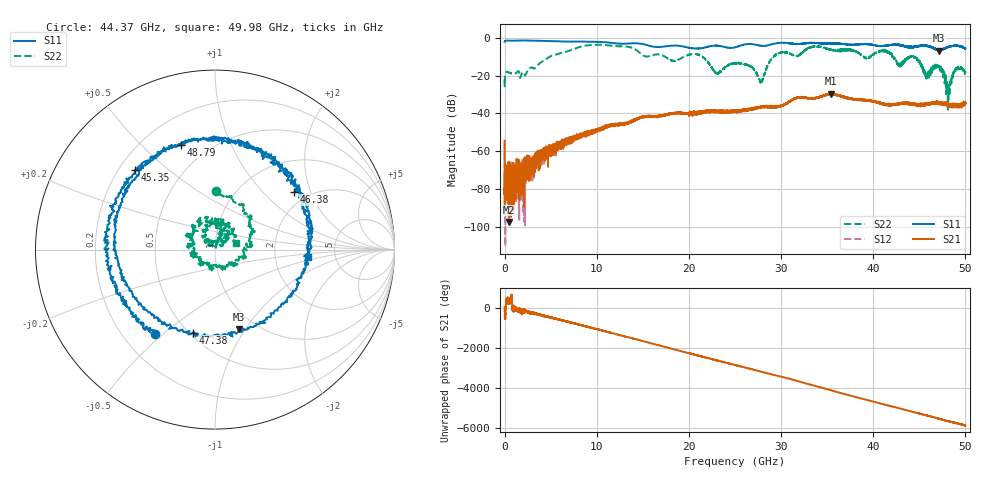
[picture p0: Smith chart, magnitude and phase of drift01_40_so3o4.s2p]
!Created with skrf (http://scikit-rf.org).
# Hz S RI R 50.0
!freq ReS11 ImS11 ReS21 ImS21 ReS12 ImS12 ReS22 ImS22
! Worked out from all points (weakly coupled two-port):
!   10001 points, 300 kHz to 50 GHz, reference 50 ohm
!   highest |S21| = -29.49 dB at 35.44 GHz (marker M1); lowest = -97.5 dB at 470.3 MHz (marker M2)
!   lowest |S11| = -6.7 dB at 47.17 GHz (marker M3), VSWR 2.72, Z = 41.6 - j46.7 ohm
!   |S11| at or under -10 dB: nowhere
!   |S22| runs from -38.1 to -3.6 dB; largest |S21 - S12| = 0.0036
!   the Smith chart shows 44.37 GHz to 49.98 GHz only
!   S11 on the Smith chart (normalised r, x): 44.37 GHz: 0.34, -0.47; 45.35 GHz: 0.26, +0.39; 46.38 GHz: 1.69, +1.55; 47.38 GHz: 0.53, -0.63; 48.79 GHz: 0.36, +0.66; 49.98 GHz: 3.13, -0.34
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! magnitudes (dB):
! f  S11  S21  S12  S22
! 300 kHz  -2.1  -54.4  -55.6  -22.0
! 255.3 MHz  -1.4  -75.0  -80.4  -18.0
! 470.3 MHz  -1.4  -97.5  -68.2  -18.3
! 8.335 GHz  -1.9  -51.6  -51.3  -4.6
! 16.67 GHz  -4.8  -41.4  -41.4  -8.7
! 20.97 GHz  -5.6  -39.9  -39.6  -8.8
! 23.07 GHz  -4.1  -38.6  -39.0  -18.6
! 25 GHz  -5.0  -38.5  -38.4  -13.6
! 27.84 GHz  -4.1  -36.9  -36.7  -22.8
! 29.47 GHz  -2.9  -36.5  -36.5  -8.8
! 33.34 GHz  -2.6  -32.1  -32.0  -4.7
! 35.44 GHz  -2.9  -29.5  -29.7  -6.3
! 41.67 GHz  -3.9  -35.7  -35.3  -7.8
! 44.37 GHz  -4.8  -34.8  -35.1  -9.7
! 45.35 GHz  -4.0  -35.5  -35.3  -15.1
! 46.38 GHz  -5.2  -34.5  -34.8  -17.3
! 47.17 GHz  -6.7  -34.2  -34.3  -15.0
! 47.38 GHz  -6.4  -34.4  -34.7  -16.9
! 48.13 GHz  -4.8  -35.9  -35.0  -33.4
! 48.79 GHz  -4.3  -35.5  -35.7  -18.5
! 49.98 GHz  -5.7  -34.8  -35.3  -18.4
! 50 GHz  -5.5  -34.9  -34.6  -18.3
